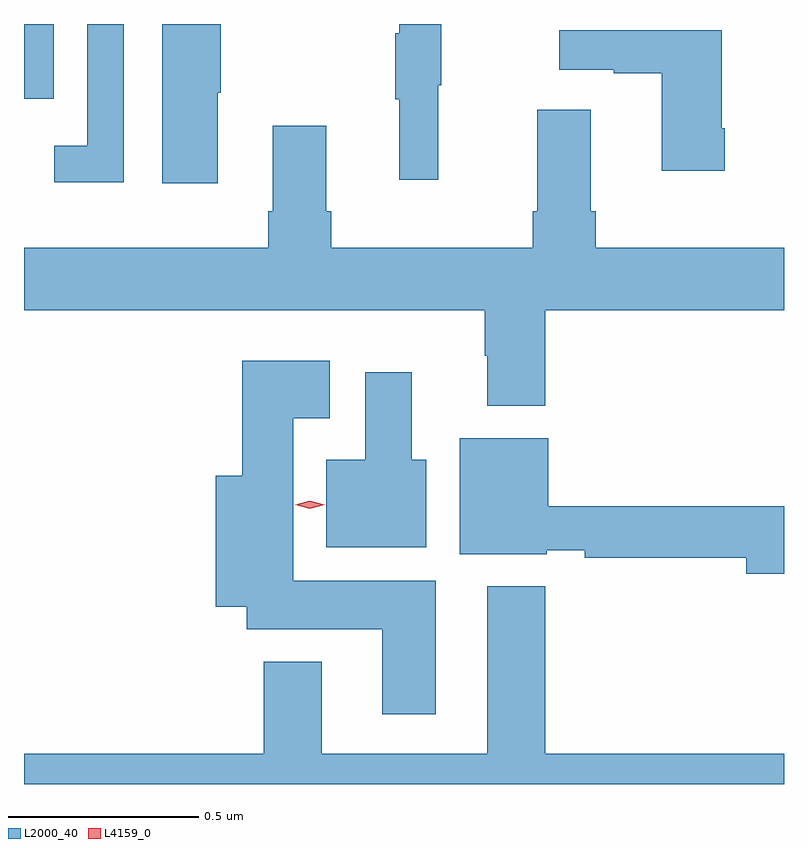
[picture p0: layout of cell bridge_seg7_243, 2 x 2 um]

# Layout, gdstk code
import gdstk
lib = gdstk.Library(unit=1e-6, precision=1e-09)
def R(c, l, rs):  # rectangles x0, y0, x1, y1
    for r in rs: c.add(gdstk.rectangle(r[:2], r[2:], *l))
def P(c, l, *ps):  # polygons
    for p in ps: c.add(gdstk.Polygon(p, *l))
L2000_40 = (2000, 40)
L4159_0 = (4159, 0)

bridge_seg7_243 = lib.new_cell('bridge_seg7_243')
R(bridge_seg7_243, L2000_40, [(326.614,1059.78,326.692,1059.977)])
P(bridge_seg7_243, L2000_40, [(326.877,1059.977),(326.781,1059.977),(326.781,1059.657),(326.694,1059.657),(326.694,1059.56),(326.877,1059.56)],
  [(327.704,1059.816),(327.712,1059.816),(327.712,1059.977),(327.602,1059.977),(327.602,1059.953),(327.591,1059.953),(327.591,1059.779),(327.602,1059.779),(327.602,1059.567),(327.704,1059.567)],
  [(327.124,1059.796),(327.132,1059.796),(327.132,1059.977),(326.978,1059.977),(326.978,1059.558),(327.124,1059.558)],
  [(328.458,1059.703),(328.45,1059.703),(328.45,1059.961),(328.023,1059.961),(328.023,1059.857),(328.166,1059.857),(328.166,1059.847),(328.292,1059.847),(328.292,1059.591),(328.458,1059.591)],
  [(327.986,1059.224),(328.614,1059.224),(328.614,1059.388),(328.118,1059.388),(328.118,1059.484),(328.105,1059.484),(328.105,1059.751),(327.965,1059.751),(327.965,1059.484),(327.953,1059.484),(327.953,1059.388),(327.422,1059.388),(327.422,1059.484),(327.409,1059.484),(327.409,1059.709),(327.269,1059.709),(327.269,1059.484),(327.257,1059.484),(327.257,1059.388),(326.614,1059.388),(326.614,1059.224),(327.826,1059.224),(327.826,1059.104),(327.833,1059.104),(327.833,1058.972),(327.986,1058.972)],
  [(327.697,1058.512),(327.322,1058.512),(327.322,1058.939),(327.418,1058.939),(327.418,1059.091),(327.188,1059.091),(327.188,1058.788),(327.119,1058.788),(327.119,1058.444),(327.2,1058.444),(327.2,1058.384),(327.557,1058.384),(327.557,1058.16),(327.697,1058.16)],
  [(327.673,1058.83),(327.634,1058.83),(327.634,1059.061),(327.512,1059.061),(327.512,1058.83),(327.41,1058.83),(327.41,1058.6),(327.673,1058.6)],
  [(328.614,1058.708),(327.994,1058.708),(327.994,1058.887),(327.761,1058.887),(327.761,1058.582),(327.99,1058.582),(327.99,1058.592),(328.09,1058.592),(328.09,1058.572),(328.514,1058.572),(328.514,1058.53),(328.614,1058.53)],
  [(328.614,1058.056),(327.986,1058.056),(327.986,1058.497),(327.833,1058.497),(327.833,1058.056),(327.397,1058.056),(327.397,1058.299),(327.245,1058.299),(327.245,1058.056),(326.614,1058.056),(326.614,1057.977),(328.614,1057.977)])
P(bridge_seg7_243, L4159_0, [(327.366,1058.702),(327.328,1058.712),(327.327,1058.712),(327.328,1058.712),(327.366,1058.722),(327.405,1058.712),(327.405,1058.712),(327.405,1058.712)])

lib.write_gds('bridge_seg7_243.gds')
